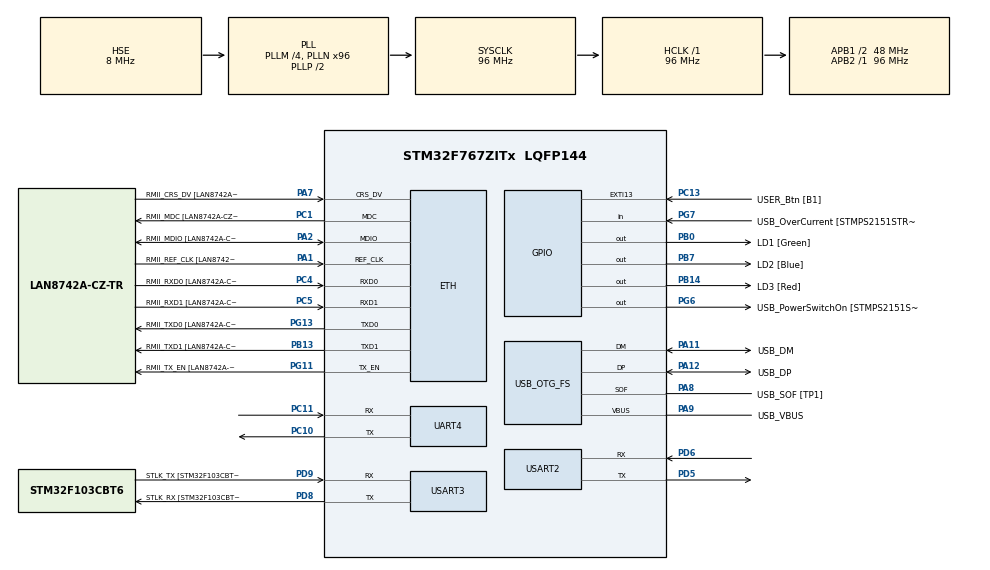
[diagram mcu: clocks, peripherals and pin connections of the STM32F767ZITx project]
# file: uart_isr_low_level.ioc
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ETH.MediaInterface=HAL_ETH_RMII_MODE
ETH.PHY_Name=LAN8742A_PHY_ADDRESS
ETH.PHY_Value=0
ETH.PhyAddress=0
FREERTOS.Tasks01=defaultTask,24,128,StartDefaultTask,Default,NULL,Dynamic,NULL,NULL;uartPrintOut,8,128,uartPrintOutEntry,Default,NULL,Dynamic,NULL,NULL
FREERTOS.Timers01=sendTimer,sendTimerEntry,osTimerPeriodic,Default,NULL,Dynamic,NULL;startUart4Traffic,startUart4TrafficEntry,osTimerOnce,Default,NULL,Dynamic,NULL
FREERTOS.configUSE_NEWLIB_REENTRANT=1
Mcu.Family=STM32F7
Mcu.Name=STM32F767ZITx
Mcu.Package=LQFP144
NVIC.PriorityGroup=NVIC_PRIORITYGROUP_4
PA1.GPIO_Label=RMII_REF_CLK [LAN8742A-CZ-TR_REFCLK0]
PA1.Mode=RMII
PA1.Signal=ETH_REF_CLK
PA10.GPIO_Label=USB_ID
PA10.Signal=USB_OTG_FS_ID
PA11.GPIO_Label=USB_DM
PA11.Mode=Device_Only
PA11.Signal=USB_OTG_FS_DM
PA12.GPIO_Label=USB_DP
PA12.Mode=Device_Only
PA12.Signal=USB_OTG_FS_DP
PA13.GPIO_Label=TMS
PA13.Mode=Serial_Wire
PA13.Signal=SYS_JTMS-SWDIO
PA14.GPIO_Label=TCK
PA14.Mode=Serial_Wire
PA14.Signal=SYS_JTCK-SWCLK
PA2.GPIO_Label=RMII_MDIO [LAN8742A-CZ-TR_MDIO]
PA2.Mode=RMII
PA2.Signal=ETH_MDIO
PA7.GPIO_Label=RMII_CRS_DV [LAN8742A-CZ-TR_CRS_DV]
PA7.Mode=RMII
PA7.Signal=ETH_CRS_DV
PA8.GPIO_Label=USB_SOF [TP1]
PA8.Mode=Activate_SOF_FS
PA8.Signal=USB_OTG_FS_SOF
PA9.GPIO_Label=USB_VBUS
PA9.Mode=Activate_VBUS
PA9.Signal=USB_OTG_FS_VBUS
PB0.GPIO_Label=LD1 [Green]
PB0.Signal=GPIO_Output
PB13.GPIO_Label=RMII_TXD1 [LAN8742A-CZ-TR_TXD1]
PB13.Mode=RMII
PB13.Signal=ETH_TXD1
PB14.GPIO_Label=LD3 [Red]
PB14.Signal=GPIO_Output
PB3.GPIO_Label=SWO
PB3.Signal=SYS_JTDO-SWO
PB7.GPIO_Label=LD2 [Blue]
PB7.Signal=GPIO_Output
PC1.GPIO_Label=RMII_MDC [LAN8742A-CZ-TR_MDC]
PC1.Mode=RMII
PC1.Signal=ETH_MDC
PC10.Mode=Asynchronous
PC10.Signal=UART4_TX
PC11.Mode=Asynchronous
PC11.Signal=UART4_RX
PC13.GPIO_Label=USER_Btn [B1]
PC13.Signal=GPXTI13
PC14/OSC32_IN.Mode=LSE-External-Oscillator
PC14/OSC32_IN.Signal=RCC_OSC32_IN
PC15/OSC32_OUT.Mode=LSE-External-Oscillator
PC15/OSC32_OUT.Signal=RCC_OSC32_OUT
PC4.GPIO_Label=RMII_RXD0 [LAN8742A-CZ-TR_RXD0]
PC4.Mode=RMII
PC4.Signal=ETH_RXD0
PC5.GPIO_Label=RMII_RXD1 [LAN8742A-CZ-TR_RXD1]
PC5.Mode=RMII
PC5.Signal=ETH_RXD1
PD5.Mode=Asynchronous
PD5.Signal=USART2_TX
PD6.Mode=Asynchronous
PD6.Signal=USART2_RX
PD8.GPIO_Label=STLK_RX [STM32F103CBT6_PA3]
PD8.Mode=Asynchronous
PD8.Signal=USART3_TX
PD9.GPIO_Label=STLK_TX [STM32F103CBT6_PA2]
PD9.Mode=Asynchronous
PD9.Signal=USART3_RX
PG11.GPIO_Label=RMII_TX_EN [LAN8742A-CZ-TR_TXEN]
PG11.Mode=RMII
PG11.Signal=ETH_TX_EN
PG13.GPIO_Label=RMII_TXD0 [LAN8742A-CZ-TR_TXD0]
PG13.Mode=RMII
PG13.Signal=ETH_TXD0
PG6.GPIO_Label=USB_PowerSwitchOn [STMPS2151STR_EN]
PG6.Signal=GPIO_Output
PG7.GPIO_Label=USB_OverCurrent [STMPS2151STR_FAULT]
PG7.Signal=GPIO_Input
PH0/OSC_IN.GPIO_Label=MCO [STM32F103CBT6_PA8]
PH0/OSC_IN.Mode=HSE-External-Clock-Source
PH0/OSC_IN.Signal=RCC_OSC_IN
PH1/OSC_OUT.Mode=HSE-External-Clock-Source
PH1/OSC_OUT.Signal=RCC_OSC_OUT
ProjectManager.HeapSize=0x200
ProjectManager.StackSize=0x400
ProjectManager.TargetToolchain=STM32CubeIDE
RCC.48MHZClocksFreq_Value=24000000
RCC.AHBFreq_Value=96000000
RCC.APB1CLKDivider=RCC_HCLK_DIV2
RCC.APB1Freq_Value=48000000
RCC.APB1TimFreq_Value=96000000
RCC.APB2Freq_Value=96000000
RCC.APB2TimFreq_Value=96000000
RCC.CortexFreq_Value=96000000
RCC.HCLKFreq_Value=96000000
RCC.HSE_VALUE=8000000
RCC.HSI_VALUE=16000000
RCC.PLLM=4
RCC.PLLMUL=RCC_PLL_MUL9
RCC.PLLN=96
RCC.PLLQ=4
RCC.PRESCALERUSB=RCC_USBCLKSOURCE_PLL_DIV1_5
RCC.SYSCLKFreq_VALUE=96000000
RCC.SYSCLKSource=RCC_SYSCLKSOURCE_PLLCLK
RCC.SYSCLKSourceVirtual=RCC_SYSCLKSOURCE_PLLCLK
RCC.USBFreq_Value=48000000
RCC.VCOOutputFreq_Value=192000000
USART2.VirtualMode-Asynchronous=VM_ASYNC
USART3.VirtualMode-Asynchronous=VM_ASYNC
USB_OTG_FS.VirtualMode=Device_Only
VP_FREERTOS_VS_CMSIS_V2.Mode=CMSIS_V2
board=NUCLEO-F767ZI

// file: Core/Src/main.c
/* USER CODE BEGIN Header */
/**
  ******************************************************************************
  * @file           : main.c
  * @brief          : Main program body
  ******************************************************************************
  * @attention
  *
  * Copyright (c) 2023 STMicroelectronics.
  * All rights reserved.
  *
  * This software is licensed under terms that can be found in the LICENSE file
  * in the root directory of this software component.
  * If no LICENSE file comes with this software, it is provided AS-IS.
  *
  ******************************************************************************
  */
/* USER CODE END Header */
#include "main.h"
#include "string.h"
#include "cmsis_os.h"

/* USER CODE BEGIN Includes */
#include <FreeRTOS.h>
#include <task.h>
#include <stream_buffer.h>
#include <timers.h>
#include <stm32f7xx_hal.h>
#include <stdbool.h>
#include <string.h>
#include <SEGGER_SYSVIEW.h>
/* USER CODE END Includes */

#if defined ( __ICCARM__ ) /*!< IAR Compiler */
#pragma location=0x2007c000
ETH_DMADescTypeDef  DMARxDscrTab[ETH_RX_DESC_CNT]; /* Ethernet Rx DMA Descriptors */
#pragma location=0x2007c0a0
ETH_DMADescTypeDef  DMATxDscrTab[ETH_TX_DESC_CNT]; /* Ethernet Tx DMA Descriptors */

#elif defined ( __CC_ARM )  /* MDK ARM Compiler */

__attribute__((at(0x2007c000))) ETH_DMADescTypeDef  DMARxDscrTab[ETH_RX_DESC_CNT]; /* Ethernet Rx DMA Descriptors */
__attribute__((at(0x2007c0a0))) ETH_DMADescTypeDef  DMATxDscrTab[ETH_TX_DESC_CNT]; /* Ethernet Tx DMA Descriptors */

#elif defined ( __GNUC__ ) /* GNU Compiler */
ETH_DMADescTypeDef DMARxDscrTab[ETH_RX_DESC_CNT] __attribute__((section(".RxDecripSection"))); /* Ethernet Rx DMA Descriptors */
ETH_DMADescTypeDef DMATxDscrTab[ETH_TX_DESC_CNT] __attribute__((section(".TxDecripSection")));   /* Ethernet Tx DMA Descriptors */

#endif

ETH_TxPacketConfig TxConfig;

ETH_HandleTypeDef heth;

UART_HandleTypeDef huart4;
//UART_HandleTypeDef huart2;
UART_HandleTypeDef huart3;

PCD_HandleTypeDef hpcd_USB_OTG_FS;

/* Definitions for defaultTask */
osThreadId_t defaultTaskHandle;
const osThreadAttr_t defaultTask_attributes = {
  .name = "defaultTask",
  .stack_size = 128 * 4,
  .priority = (osPriority_t) osPriorityNormal,
};
/* Definitions for uartPrintOut */
osThreadId_t uartPrintOutHandle;
const osThreadAttr_t uartPrintOut_attributes = {
  .name = "uartPrintOut",
  .stack_size = 128 * 4,
  .priority = (osPriority_t) osPriorityLow,
};
/* Definitions for sendTimer */
osTimerId_t sendTimerHandle;
const osTimerAttr_t sendTimer_attributes = {
  .name = "sendTimer"
};
/* Definitions for startUart4Traffic */
osTimerId_t startUart4TrafficHandle;
const osTimerAttr_t startUart4Traffic_attributes = {
  .name = "startUart4Traffic"
};

void SystemClock_Config(void);
static void MX_GPIO_Init(void);
static void MX_ETH_Init(void);
static void MX_USART3_UART_Init(void);
static void MX_USB_OTG_FS_PCD_Init(void);
static void MX_UART4_Init(void);
static void MX_USART2_UART_Init(void);
void StartDefaultTask(void *argument);
void uartPrintOutEntry(void *argument);
void sendTimerEntry(void *argument);
void startUart4TrafficEntry(void *argument);
static void setupUSART2DMA( void );

/* USER CODE BEGIN PFP */
void uartPrintOutTask( void* NotUsed);
void startUart4Traffic( TimerHandle_t xTimer );

static uint8_t rxData[20];
static uint8_t expectedLen = 16;

static StreamBufferHandle_t rxStream = NULL;

static bool rxInProgress = false;
static uint_fast16_t rxLen = 0;

static DMA_HandleTypeDef usart2DmaRx;
/* USER CODE END PFP */

int main(void)
{

  /* MCU Configuration--------------------------------------------------------*/

  /* Reset of all peripherals, Initializes the Flash interface and the Systick. */
  HAL_Init();

  /* USER CODE BEGIN Init */
  NVIC_SetPriorityGrouping(0);
  SEGGER_SYSVIEW_Conf();
  /* USER CODE END Init */

  /* Configure the system clock */
  SystemClock_Config();

  /* Initialize all configured peripherals */
  MX_GPIO_Init();
  MX_ETH_Init();
  MX_USART3_UART_Init();
  MX_USB_OTG_FS_PCD_Init();
  MX_UART4_Init();
  MX_USART2_UART_Init();
  SEGGER_SYSVIEW_PrintfHost("test 1");
  setupUSART2DMA();

  /* Init scheduler */
  osKernelInitialize();
  SEGGER_SYSVIEW_PrintfHost("test 2");

  /* Create the timer(s) */
  /* creation of sendTimer */
  sendTimerHandle = osTimerNew(sendTimerEntry, osTimerPeriodic, NULL, &sendTimer_attributes);

  /* creation of startUart4Traffic */
  startUart4TrafficHandle = osTimerNew(startUart4TrafficEntry, osTimerOnce, NULL, &startUart4Traffic_attributes);

  /* USER CODE BEGIN RTOS_TIMERS */
  /* start timers, add new ones, ... */
  osTimerStart(startUart4TrafficHandle, 500 / portTICK_PERIOD_MS);
  SEGGER_SYSVIEW_PrintfHost("test 3");
  /* USER CODE END RTOS_TIMERS */

  /* USER CODE BEGIN RTOS_QUEUES */
  /* add queues, ... */
  rxStream = xStreamBufferCreate( 100, 1);
  /* USER CODE END RTOS_QUEUES */

  /* Create the thread(s) */
  /* creation of defaultTask */
  defaultTaskHandle = osThreadNew(StartDefaultTask, NULL, &defaultTask_attributes);

  /* creation of uartPrintOut */
  uartPrintOutHandle = osThreadNew(uartPrintOutEntry, NULL, &uartPrintOut_attributes);
  SEGGER_SYSVIEW_PrintfHost("test 4");
  /* USER CODE BEGIN RTOS_THREADS */
  /* add threads, ... */
  SEGGER_SYSVIEW_PrintfHost("DMA Init");
  setupUSART2DMA();
  SEGGER_SYSVIEW_PrintfHost("DMA Init");
  /* USER CODE END RTOS_THREADS */

  /* Start scheduler */
  SEGGER_SYSVIEW_PrintfHost("test 3");
  osKernelStart();
  /* We should never get here as control is now taken by the scheduler */
  /* Infinite loop */
  while (1)
  {

  }
}

void SystemClock_Config(void)
{
  RCC_OscInitTypeDef RCC_OscInitStruct = {0};
  RCC_ClkInitTypeDef RCC_ClkInitStruct = {0};

  /** Configure LSE Drive Capability
  */
  HAL_PWR_EnableBkUpAccess();

  /** Configure the main internal regulator output voltage
  */
  __HAL_RCC_PWR_CLK_ENABLE();
  __HAL_PWR_VOLTAGESCALING_CONFIG(PWR_REGULATOR_VOLTAGE_SCALE3);

  /** Initializes the RCC Oscillators according to the specified parameters
  * in the RCC_OscInitTypeDef structure.
  */
  RCC_OscInitStruct.OscillatorType = RCC_OSCILLATORTYPE_HSE;
  RCC_OscInitStruct.HSEState = RCC_HSE_BYPASS;
  RCC_OscInitStruct.PLL.PLLState = RCC_PLL_ON;
  RCC_OscInitStruct.PLL.PLLSource = RCC_PLLSOURCE_HSE;
  RCC_OscInitStruct.PLL.PLLM = 4;
  RCC_OscInitStruct.PLL.PLLN = 96;
  RCC_OscInitStruct.PLL.PLLP = RCC_PLLP_DIV2;
  RCC_OscInitStruct.PLL.PLLQ = 4;
  RCC_OscInitStruct.PLL.PLLR = 2;
  if (HAL_RCC_OscConfig(&RCC_OscInitStruct) != HAL_OK)
  {
    Error_Handler();
  }

  /** Activate the Over-Drive mode
  */
  if (HAL_PWREx_EnableOverDrive() != HAL_OK)
  {
    Error_Handler();
  }

  /** Initializes the CPU, AHB and APB buses clocks
  */
  RCC_ClkInitStruct.ClockType = RCC_CLOCKTYPE_HCLK|RCC_CLOCKTYPE_SYSCLK
                              |RCC_CLOCKTYPE_PCLK1|RCC_CLOCKTYPE_PCLK2;
  RCC_ClkInitStruct.SYSCLKSource = RCC_SYSCLKSOURCE_PLLCLK;
  RCC_ClkInitStruct.AHBCLKDivider = RCC_SYSCLK_DIV1;
  RCC_ClkInitStruct.APB1CLKDivider = RCC_HCLK_DIV2;
  RCC_ClkInitStruct.APB2CLKDivider = RCC_HCLK_DIV1;

  if (HAL_RCC_ClockConfig(&RCC_ClkInitStruct, FLASH_LATENCY_3) != HAL_OK)
  {
    Error_Handler();
  }
}

static void MX_ETH_Init(void)
{

   static uint8_t MACAddr[6];

  heth.Instance = ETH;
  MACAddr[0] = 0x00;
  MACAddr[1] = 0x80;
  MACAddr[2] = 0xE1;
  MACAddr[3] = 0x00;
  MACAddr[4] = 0x00;
  MACAddr[5] = 0x00;
  heth.Init.MACAddr = &MACAddr[0];
  heth.Init.MediaInterface = HAL_ETH_RMII_MODE;
  heth.Init.TxDesc = DMATxDscrTab;
  heth.Init.RxDesc = DMARxDscrTab;
  heth.Init.RxBuffLen = 1524;

  if (HAL_ETH_Init(&heth) != HAL_OK)
  {
    Error_Handler();
  }

  memset(&TxConfig, 0 , sizeof(ETH_TxPacketConfig));
  TxConfig.Attributes = ETH_TX_PACKETS_FEATURES_CSUM | ETH_TX_PACKETS_FEATURES_CRCPAD;
  TxConfig.ChecksumCtrl = ETH_CHECKSUM_IPHDR_PAYLOAD_INSERT_PHDR_CALC;
  TxConfig.CRCPadCtrl = ETH_CRC_PAD_INSERT;

}

static void MX_UART4_Init(void)
{

  huart4.Instance = UART4;
  huart4.Init.BaudRate = 115200;
  huart4.Init.WordLength = UART_WORDLENGTH_8B;
  huart4.Init.StopBits = UART_STOPBITS_1;
  huart4.Init.Parity = UART_PARITY_NONE;
  huart4.Init.Mode = UART_MODE_TX_RX;
  huart4.Init.HwFlowCtl = UART_HWCONTROL_NONE;
  huart4.Init.OverSampling = UART_OVERSAMPLING_16;
  huart4.Init.OneBitSampling = UART_ONE_BIT_SAMPLE_DISABLE;
  huart4.AdvancedInit.AdvFeatureInit = UART_ADVFEATURE_NO_INIT;
  if (HAL_UART_Init(&huart4) != HAL_OK)
  {
    Error_Handler();
  }

}

static void MX_USART2_UART_Init(void)
{

  /* USER CODE BEGIN USART2_Init 0 */
	__HAL_RCC_DMA1_CLK_ENABLE();

	NVIC_SetPriority(DMA1_Stream5_IRQn, 6);
	NVIC_EnableIRQ(DMA1_Stream5_IRQn);

	//initialize the DMA peripheral to transfer uart4Msg
	//to UART4 repeatedly
	memset(&usart2DmaRx, 0, sizeof(usart2DmaRx));
	usart2DmaRx.Instance = DMA1_Stream5;					//stream 5 is for USART2 Rx
	usart2DmaRx.Init.Channel = DMA_CHANNEL_4;				//channel 4 is for USART2 Rx/Tx
	usart2DmaRx.Init.Direction = DMA_PERIPH_TO_MEMORY;	//transfering out of memory and into the peripheral register
	usart2DmaRx.Init.FIFOMode = DMA_FIFOMODE_DISABLE;		//no fifo
	usart2DmaRx.Init.MemBurst = DMA_MBURST_SINGLE;		//transfer 1 at a time
	usart2DmaRx.Init.MemDataAlignment = DMA_MDATAALIGN_BYTE;
	usart2DmaRx.Init.MemInc = DMA_MINC_ENABLE;			//increment 1 byte at a time
	usart2DmaRx.Init.Mode = DMA_NORMAL;					//flow control mode set to normal
	usart2DmaRx.Init.PeriphBurst = DMA_PBURST_SINGLE;		//write 1 at a time to the peripheral
	usart2DmaRx.Init.PeriphInc = DMA_PINC_DISABLE;		//always keep the peripheral address the same (the RX data register is always in the same location)
	usart2DmaRx.Init.PeriphDataAlignment = DMA_PDATAALIGN_BYTE;
	usart2DmaRx.Init.Priority = DMA_PRIORITY_HIGH;
	assert_param(HAL_DMA_Init(&usart2DmaRx) == HAL_OK);

	DMA1_Stream5->CR |= DMA_SxCR_TCIE;	//enable transfer complete interrupts
	USART2->CR3 |= USART_CR3_DMAR_Msk;	//set the DMA receive mode flag in the USART
	SEGGER_SYSVIEW_PrintfHost("usart2 dma init");
  /* USER CODE END USART2_Init 0 */

	/*
  huart2.Instance = USART2;
  huart2.Init.BaudRate = 115200;
  huart2.Init.WordLength = UART_WORDLENGTH_8B;
  huart2.Init.StopBits = UART_STOPBITS_1;
  huart2.Init.Parity = UART_PARITY_NONE;
  huart2.Init.Mode = UART_MODE_TX_RX;
  huart2.Init.HwFlowCtl = UART_HWCONTROL_NONE;
  huart2.Init.OverSampling = UART_OVERSAMPLING_16;
  huart2.Init.OneBitSampling = UART_ONE_BIT_SAMPLE_DISABLE;
  huart2.AdvancedInit.AdvFeatureInit = UART_ADVFEATURE_NO_INIT;
  if (HAL_UART_Init(&huart2) != HAL_OK)
  {
    Error_Handler();
  }*/

}

static void MX_USART3_UART_Init(void)
{

  huart3.Instance = USART3;
  huart3.Init.BaudRate = 115200;
  huart3.Init.WordLength = UART_WORDLENGTH_8B;
  huart3.Init.StopBits = UART_STOPBITS_1;
  huart3.Init.Parity = UART_PARITY_NONE;
  huart3.Init.Mode = UART_MODE_TX_RX;
  huart3.Init.HwFlowCtl = UART_HWCONTROL_NONE;
  huart3.Init.OverSampling = UART_OVERSAMPLING_16;
  huart3.Init.OneBitSampling = UART_ONE_BIT_SAMPLE_DISABLE;
  huart3.AdvancedInit.AdvFeatureInit = UART_ADVFEATURE_NO_INIT;
  if (HAL_UART_Init(&huart3) != HAL_OK)
  {
    Error_Handler();
  }

}

static void MX_USB_OTG_FS_PCD_Init(void)
{

  hpcd_USB_OTG_FS.Instance = USB_OTG_FS;
  hpcd_USB_OTG_FS.Init.dev_endpoints = 6;
  hpcd_USB_OTG_FS.Init.speed = PCD_SPEED_FULL;
  hpcd_USB_OTG_FS.Init.dma_enable = DISABLE;
  hpcd_USB_OTG_FS.Init.phy_itface = PCD_PHY_EMBEDDED;
  hpcd_USB_OTG_FS.Init.Sof_enable = ENABLE;
  hpcd_USB_OTG_FS.Init.low_power_enable = DISABLE;
  hpcd_USB_OTG_FS.Init.lpm_enable = DISABLE;
  hpcd_USB_OTG_FS.Init.vbus_sensing_enable = ENABLE;
  hpcd_USB_OTG_FS.Init.use_dedicated_ep1 = DISABLE;
  if (HAL_PCD_Init(&hpcd_USB_OTG_FS) != HAL_OK)
  {
    Error_Handler();
  }

}

static void MX_GPIO_Init(void)
{
  GPIO_InitTypeDef GPIO_InitStruct = {0};

  /* GPIO Ports Clock Enable */
  __HAL_RCC_GPIOC_CLK_ENABLE();
  __HAL_RCC_GPIOH_CLK_ENABLE();
  __HAL_RCC_GPIOA_CLK_ENABLE();
  __HAL_RCC_GPIOB_CLK_ENABLE();
  __HAL_RCC_GPIOD_CLK_ENABLE();
  __HAL_RCC_GPIOG_CLK_ENABLE();

  /*Configure GPIO pin Output Level */
  HAL_GPIO_WritePin(GPIOB, LD1_Pin|LD3_Pin|LD2_Pin, GPIO_PIN_RESET);

  /*Configure GPIO pin Output Level */
  HAL_GPIO_WritePin(USB_PowerSwitchOn_GPIO_Port, USB_PowerSwitchOn_Pin, GPIO_PIN_RESET);

  /*Configure GPIO pin : USER_Btn_Pin */
  GPIO_InitStruct.Pin = USER_Btn_Pin;
  GPIO_InitStruct.Mode = GPIO_MODE_IT_RISING;
  GPIO_InitStruct.Pull = GPIO_NOPULL;
  HAL_GPIO_Init(USER_Btn_GPIO_Port, &GPIO_InitStruct);

  /*Configure GPIO pins : LD1_Pin LD3_Pin LD2_Pin */
  GPIO_InitStruct.Pin = LD1_Pin|LD3_Pin|LD2_Pin;
  GPIO_InitStruct.Mode = GPIO_MODE_OUTPUT_PP;
  GPIO_InitStruct.Pull = GPIO_NOPULL;
  GPIO_InitStruct.Speed = GPIO_SPEED_FREQ_LOW;
  HAL_GPIO_Init(GPIOB, &GPIO_InitStruct);

  /*Configure GPIO pin : USB_PowerSwitchOn_Pin */
  GPIO_InitStruct.Pin = USB_PowerSwitchOn_Pin;
  GPIO_InitStruct.Mode = GPIO_MODE_OUTPUT_PP;
  GPIO_InitStruct.Pull = GPIO_NOPULL;
  GPIO_InitStruct.Speed = GPIO_SPEED_FREQ_LOW;
  HAL_GPIO_Init(USB_PowerSwitchOn_GPIO_Port, &GPIO_InitStruct);

  /*Configure GPIO pin : USB_OverCurrent_Pin */
  GPIO_InitStruct.Pin = USB_OverCurrent_Pin;
  GPIO_InitStruct.Mode = GPIO_MODE_INPUT;
  GPIO_InitStruct.Pull = GPIO_NOPULL;
  HAL_GPIO_Init(USB_OverCurrent_GPIO_Port, &GPIO_InitStruct);

}

/* USER CODE BEGIN 4 */
void setupUSART2DMA( void )
{
	//disable UART so no bytes can be accepted, which could create an
	//overrun if DMA isn't setup in time
//	USART2->CR1 &= ~USART_CR1_UE;	//start with the USART disabled

	__HAL_RCC_DMA1_CLK_ENABLE();

	NVIC_SetPriority(DMA1_Stream5_IRQn, 6);
	NVIC_EnableIRQ(DMA1_Stream5_IRQn);

	//initialize the DMA peripheral to transfer uart4Msg
	//to UART4 repeatedly
	memset(&usart2DmaRx, 0, sizeof(usart2DmaRx));
	usart2DmaRx.Instance = DMA1_Stream5;					//stream 5 is for USART2 Rx
	usart2DmaRx.Init.Channel = DMA_CHANNEL_4;				//channel 4 is for USART2 Rx/Tx
	usart2DmaRx.Init.Direction = DMA_PERIPH_TO_MEMORY;	//transfering out of memory and into the peripheral register
	usart2DmaRx.Init.FIFOMode = DMA_FIFOMODE_DISABLE;		//no fifo
	usart2DmaRx.Init.MemBurst = DMA_MBURST_SINGLE;		//transfer 1 at a time
	usart2DmaRx.Init.MemDataAlignment = DMA_MDATAALIGN_BYTE;
	usart2DmaRx.Init.MemInc = DMA_MINC_ENABLE;			//increment 1 byte at a time
	usart2DmaRx.Init.Mode = DMA_NORMAL;					//flow control mode set to normal
	usart2DmaRx.Init.PeriphBurst = DMA_PBURST_SINGLE;		//write 1 at a time to the peripheral
	usart2DmaRx.Init.PeriphInc = DMA_PINC_DISABLE;		//always keep the peripheral address the same (the RX data register is always in the same location)
	usart2DmaRx.Init.PeriphDataAlignment = DMA_PDATAALIGN_BYTE;
	usart2DmaRx.Init.Priority = DMA_PRIORITY_HIGH;
	assert_param(HAL_DMA_Init(&usart2DmaRx) == HAL_OK);

	DMA1_Stream5->CR |= DMA_SxCR_TCIE;	//enable transfer complete interrupts
	USART2->CR3 |= USART_CR3_DMAR_Msk;	//set the DMA receive mode flag in the USART
	//SEGGER_SYSVIEW_PrintfHost("DMA Init");
}
static const uint8_t uart4Msg[1] = "T";

void DMA1_Stream5_IRQHandler(void)
{
	SEGGER_SYSVIEW_PrintfHost("DMA IRQ");
	portBASE_TYPE xHigherPriorityTaskWoken = pdFALSE;
	SEGGER_SYSVIEW_RecordEnterISR();

	if(rxInProgress && (DMA1->HISR & DMA_HISR_TCIF5))
	{
		rxInProgress = false;
		DMA1->HIFCR |= DMA_HIFCR_CTCIF5;
		SEGGER_SYSVIEW_PrintfHost(&rxData);
		xStreamBufferSendFromISR(	rxStream,
									rxData,
									expectedLen - DMA1_Stream5->NDTR,
									&xHigherPriorityTaskWoken);
	}
	SEGGER_SYSVIEW_RecordExitISR();
	portYIELD_FROM_ISR(xHigherPriorityTaskWoken);
}

int32_t startReceiveDMA( uint8_t* Buffer, uint_fast16_t Len )
{
	//SEGGER_SYSVIEW_PrintfHost("startReceiveDMA");
	if(!rxInProgress && (Buffer != NULL))
	{
		rxInProgress = true;
		rxLen = Len;

		//get the DMA peripheral ready to receive data immediately before enabling UART
		//so there is no chance of overrun
		//dma stream enable bit must be toggled before a transfer will properly restart
		__HAL_DMA_DISABLE(&usart2DmaRx);
		setupUSART2DMA();
		if(HAL_DMA_Start(&usart2DmaRx, (uint32_t)&(USART2->RDR), (uint32_t) Buffer, Len) != HAL_OK)
		{
			return -1;
		}

		//enable the UART
		//clears error flags
		USART2->ICR |= (USART_ICR_FECF | USART_ICR_PECF |
		            	USART_ICR_NCF | USART_ICR_ORECF);
		//for this specific instance, we'll avoid enabling UART interrupts for errors since
		//we'll wind up with a lot of noise on the line (the way the ISR is written will
		//cause a transfer to terminate if there are any errors are detected, rather than simply
		//continue with what data it can).  In practice, most of the "errors" at baudrates below
		//460800 are noise detection
//		USART2->CR3 |= (USART_CR3_EIE);	//enable error interrupts
		NVIC_SetPriority(USART2_IRQn, 6);
		NVIC_EnableIRQ(USART2_IRQn);
		USART2->CR1 |= (USART_CR1_UE);
		return 0;
	}

	return -1;
}

void stopReceiveDMA( void )
{
	rxInProgress = false;
	HAL_DMA_Abort(&usart2DmaRx);
}

/* USER CODE END 4 */

void StartDefaultTask(void *argument)
{
  /* USER CODE BEGIN 5 */
  /* Infinite loop */

  for(;;)
  {
    osDelay(1);
    setupUSART2DMA();
  }
  /* USER CODE END 5 */
}

void uartPrintOutEntry(void *argument)
{
  /* USER CODE BEGIN uartPrintOutEntry */
  /* Infinite loop */
	uint8_t rxBufferedData[20];
	uint8_t numBytesReceived = 16;

	setupUSART2DMA();
	//STM_UartInit(USART2, BAUDRATE, NULL, &usart2DmaRx);
	MX_USART2_UART_Init();
	while(1)
	{
		memset(rxBufferedData, 0, 20);
		startReceiveDMA(rxData, expectedLen);
		uint8_t numBytes = xStreamBufferReceive(	rxStream,
													rxBufferedData,
													numBytesReceived,
													100 );
		if(numBytes > 0)
		{
			SEGGER_SYSVIEW_PrintfHost("received: ");
			SEGGER_SYSVIEW_Print((char*)rxBufferedData);
		}
		else
		{
	        stopReceiveDMA();
			//SEGGER_SYSVIEW_PrintfHost("timeout");
		}
	}
  /* USER CODE END uartPrintOutEntry */
}

/* sendTimerEntry function */
void sendTimerEntry(void *argument)
{
  /* USER CODE BEGIN sendTimerEntry */
 HAL_UART_Transmit(&huart4, uart4Msg, sizeof(uart4Msg), 100);
 SEGGER_SYSVIEW_PrintfHost("send");
 SEGGER_SYSVIEW_PrintfHost(&uart4Msg);

  /* USER CODE END sendTimerEntry */
}

/* startUart4TrafficEntry function */
void startUart4TrafficEntry(void *argument)
{
  /* USER CODE BEGIN startUart4TrafficEntry */
	osTimerStart(sendTimerHandle, 500 / portTICK_PERIOD_MS);
  /* USER CODE END startUart4TrafficEntry */
}

void Error_Handler(void)
{
  __disable_irq();
  while (1)
  {
  }
}
